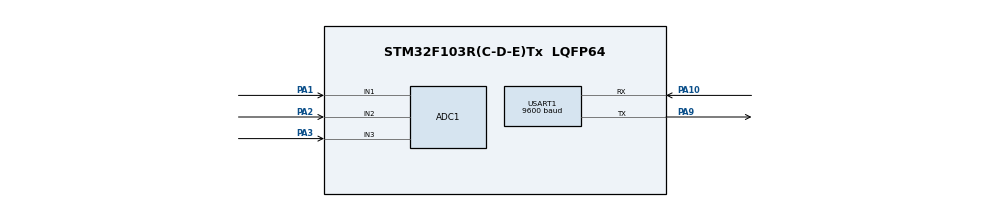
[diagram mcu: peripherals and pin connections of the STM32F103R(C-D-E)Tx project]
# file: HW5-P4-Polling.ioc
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ADC1.Channel-0\#ChannelRegularConversion=ADC_CHANNEL_1
ADC1.NbrOfConversionFlag=1
ADC1.Rank-0\#ChannelRegularConversion=1
ADC1.SamplingTime-0\#ChannelRegularConversion=ADC_SAMPLETIME_239CYCLES_5
ADC1.master=1
Mcu.Family=STM32F1
Mcu.Name=STM32F103R(C-D-E)Tx
Mcu.Package=LQFP64
NVIC.PriorityGroup=NVIC_PRIORITYGROUP_4
PA1.Signal=ADCx_IN1
PA10.Mode=Asynchronous
PA10.Signal=USART1_RX
PA13.Mode=Serial_Wire
PA13.Signal=SYS_JTMS-SWDIO
PA14.Mode=Serial_Wire
PA14.Signal=SYS_JTCK-SWCLK
PA2.Signal=ADCx_IN2
PA3.Signal=ADCx_IN3
PA9.Mode=Asynchronous
PA9.Signal=USART1_TX
PD0-OSC_IN.Mode=HSE-External-Oscillator
PD0-OSC_IN.Signal=RCC_OSC_IN
PD1-OSC_OUT.Mode=HSE-External-Oscillator
PD1-OSC_OUT.Signal=RCC_OSC_OUT
ProjectManager.HeapSize=0x200
ProjectManager.StackSize=0x400
ProjectManager.TargetToolchain=MDK-ARM V5.32
RCC.APB1Freq_Value=8000000
RCC.APB2Freq_Value=8000000
SH.ADCx_IN1.0=ADC1_IN1,IN1
SH.ADCx_IN2.0=ADC1_IN2,IN2
SH.ADCx_IN3.0=ADC1_IN3,IN3
USART1.BaudRate=9600
USART1.VirtualMode=VM_ASYNC
board=custom

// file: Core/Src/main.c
/* USER CODE BEGIN Header */
/**
  ******************************************************************************
  * @file           : main.c
  * @brief          : Main program body
  ******************************************************************************
  * @attention
  *
  * Copyright (c) 2026 STMicroelectronics.
  * All rights reserved.
  *
  * This software is licensed under terms that can be found in the LICENSE file
  * in the root directory of this software component.
  * If no LICENSE file comes with this software, it is provided AS-IS.
  *
  ******************************************************************************
  */
/* USER CODE END Header */
#include "main.h"

/* USER CODE BEGIN Includes */
#include <stdio.h>
#include <string.h>
/* USER CODE END Includes */

ADC_HandleTypeDef hadc1;

UART_HandleTypeDef huart1;

/* USER CODE BEGIN PV */
char uart_buffer[100]; // Buffer to hold the string
uint16_t avg_ch1, avg_ch2, avg_ch3;
/* USER CODE END PV */

void SystemClock_Config(void);
static void MX_GPIO_Init(void);
static void MX_ADC1_Init(void);
static void MX_USART1_UART_Init(void);

/* USER CODE BEGIN 0 */
uint16_t ADC_Read_Channel(uint32_t channel)
{
    ADC_ChannelConfTypeDef sConfig = {0};
    sConfig.Channel = channel;
    sConfig.Rank = ADC_REGULAR_RANK_1;
    sConfig.SamplingTime = ADC_SAMPLETIME_71CYCLES_5; // Give it time to stabilize

    // Switch the ADC to the requested channel
    HAL_ADC_ConfigChannel(&hadc1, &sConfig);

    uint32_t sum = 0;
    for (int i = 0; i < 50; i++)
    {
        HAL_ADC_Start(&hadc1);
        if (HAL_ADC_PollForConversion(&hadc1, 10) == HAL_OK)
        {
            sum += HAL_ADC_GetValue(&hadc1);
        }
    }

    return (uint16_t)(sum / 50); // Return the average of 50 samples
}
/* USER CODE END 0 */

int main(void)
{

  /* MCU Configuration--------------------------------------------------------*/

  /* Reset of all peripherals, Initializes the Flash interface and the Systick. */
  HAL_Init();

  /* Configure the system clock */
  SystemClock_Config();

  /* Initialize all configured peripherals */
  MX_GPIO_Init();
  MX_ADC1_Init();
  MX_USART1_UART_Init();

  /* Infinite loop */
  /* USER CODE BEGIN WHILE */
  while (1)
  {
		// 1. Read the 50-sample average for all three channels
      avg_ch1 = ADC_Read_Channel(ADC_CHANNEL_1); // PA1
      avg_ch2 = ADC_Read_Channel(ADC_CHANNEL_2); // PA2
      avg_ch3 = ADC_Read_Channel(ADC_CHANNEL_3); // PA3

      // 2. Format the data into a human-readable string with \r\n (Carriage Return + Line Feed)
      sprintf(uart_buffer, "Channel 1: %04d | Channel 2: %04d | Channel 3: %04d\r\n", avg_ch1, avg_ch2, avg_ch3);

      // 3. Transmit the string over UART
      HAL_UART_Transmit(&huart1, (uint8_t*)uart_buffer, strlen(uart_buffer), HAL_MAX_DELAY);

      // 4. Wait before sending the next batch
      HAL_Delay(500);
    /* USER CODE END WHILE */

  }
}

void SystemClock_Config(void)
{
  RCC_OscInitTypeDef RCC_OscInitStruct = {0};
  RCC_ClkInitTypeDef RCC_ClkInitStruct = {0};
  RCC_PeriphCLKInitTypeDef PeriphClkInit = {0};

  /** Initializes the RCC Oscillators according to the specified parameters
  * in the RCC_OscInitTypeDef structure.
  */
  RCC_OscInitStruct.OscillatorType = RCC_OSCILLATORTYPE_HSI;
  RCC_OscInitStruct.HSIState = RCC_HSI_ON;
  RCC_OscInitStruct.HSICalibrationValue = RCC_HSICALIBRATION_DEFAULT;
  RCC_OscInitStruct.PLL.PLLState = RCC_PLL_NONE;
  if (HAL_RCC_OscConfig(&RCC_OscInitStruct) != HAL_OK)
  {
    Error_Handler();
  }

  /** Initializes the CPU, AHB and APB buses clocks
  */
  RCC_ClkInitStruct.ClockType = RCC_CLOCKTYPE_HCLK|RCC_CLOCKTYPE_SYSCLK
                              |RCC_CLOCKTYPE_PCLK1|RCC_CLOCKTYPE_PCLK2;
  RCC_ClkInitStruct.SYSCLKSource = RCC_SYSCLKSOURCE_HSI;
  RCC_ClkInitStruct.AHBCLKDivider = RCC_SYSCLK_DIV1;
  RCC_ClkInitStruct.APB1CLKDivider = RCC_HCLK_DIV1;
  RCC_ClkInitStruct.APB2CLKDivider = RCC_HCLK_DIV1;

  if (HAL_RCC_ClockConfig(&RCC_ClkInitStruct, FLASH_LATENCY_0) != HAL_OK)
  {
    Error_Handler();
  }
  PeriphClkInit.PeriphClockSelection = RCC_PERIPHCLK_ADC;
  PeriphClkInit.AdcClockSelection = RCC_ADCPCLK2_DIV2;
  if (HAL_RCCEx_PeriphCLKConfig(&PeriphClkInit) != HAL_OK)
  {
    Error_Handler();
  }
}

static void MX_ADC1_Init(void)
{

  ADC_ChannelConfTypeDef sConfig = {0};

  /** Common config
  */
  hadc1.Instance = ADC1;
  hadc1.Init.ScanConvMode = ADC_SCAN_DISABLE;
  hadc1.Init.ContinuousConvMode = DISABLE;
  hadc1.Init.DiscontinuousConvMode = DISABLE;
  hadc1.Init.ExternalTrigConv = ADC_SOFTWARE_START;
  hadc1.Init.DataAlign = ADC_DATAALIGN_RIGHT;
  hadc1.Init.NbrOfConversion = 1;
  if (HAL_ADC_Init(&hadc1) != HAL_OK)
  {
    Error_Handler();
  }

  /** Configure Regular Channel
  */
  sConfig.Channel = ADC_CHANNEL_1;
  sConfig.Rank = ADC_REGULAR_RANK_1;
  sConfig.SamplingTime = ADC_SAMPLETIME_239CYCLES_5;
  if (HAL_ADC_ConfigChannel(&hadc1, &sConfig) != HAL_OK)
  {
    Error_Handler();
  }

}

static void MX_USART1_UART_Init(void)
{

  huart1.Instance = USART1;
  huart1.Init.BaudRate = 9600;
  huart1.Init.WordLength = UART_WORDLENGTH_8B;
  huart1.Init.StopBits = UART_STOPBITS_1;
  huart1.Init.Parity = UART_PARITY_NONE;
  huart1.Init.Mode = UART_MODE_TX_RX;
  huart1.Init.HwFlowCtl = UART_HWCONTROL_NONE;
  huart1.Init.OverSampling = UART_OVERSAMPLING_16;
  if (HAL_UART_Init(&huart1) != HAL_OK)
  {
    Error_Handler();
  }

}

static void MX_GPIO_Init(void)
{

  /* GPIO Ports Clock Enable */
  __HAL_RCC_GPIOD_CLK_ENABLE();
  __HAL_RCC_GPIOA_CLK_ENABLE();

}

void Error_Handler(void)
{
  __disable_irq();
  while (1)
  {
  }
}
